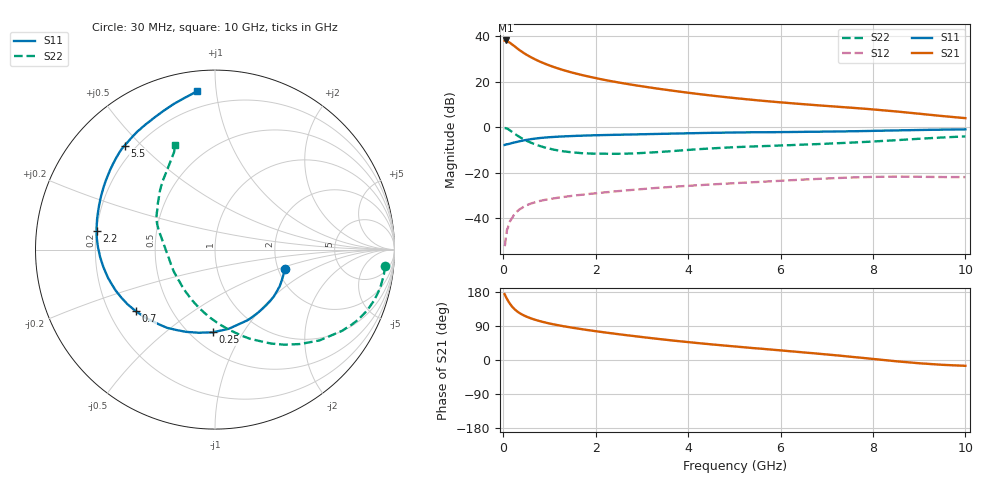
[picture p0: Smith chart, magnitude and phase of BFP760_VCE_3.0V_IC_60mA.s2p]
! Infineon Technologies  Discrete & RF Semiconductors
! BFP760
! VCE =  3.0 V,  IC =  60 mA
! Common Emitter S-Parameters:  Nov 2012
# GHz  S  MA  R  50
!  f  S11  S21  S12  S22
! GHz  MAG  ANG  MAG  ANG  MAG  ANG  MAG  ANG
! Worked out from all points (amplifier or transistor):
!   99 points, 30 MHz to 10 GHz, reference 50 ohm
!   highest |S21| = 38.1 dB at 50 MHz (marker M1)
!   |S21| within 3 dB of that: start of sweep to 273 MHz
!   unconditionally stable (mu >= 1): 3.456 GHz to end of sweep
!   at 350 MHz: K = 0.41, MSG = 35.1 dB, |S12| = -36.2 dB
!   at 3.5 GHz: K = 1.00, MAG = 21.2 dB, |S12| = -26.5 dB
!   at 10 GHz: K = 1.04, MAG = 11.7 dB, |S12| = -22.0 dB
!   S11 on the Smith chart (normalised r, x): 30 MHz: 2.18, -0.56; 250 MHz: 0.64, -0.74; 700 MHz: 0.31, -0.31; 2.2 GHz: 0.20, +0.08; 5.5 GHz: 0.16, +0.45; 10 GHz: 0.10, +0.89
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0.03  0.4042 -15.3  79.25 173.8  0.0024 84.8  0.9517 -5.5
0.04  0.4063 -20.2  79.46 171.6  0.0026 89.8  0.9514 -8.1
0.05  0.4101 -25.3  80.3 168.5  0.0032 67.1  0.9476 -10.8
0.07  0.4159 -34.1  79.62 163.7  0.0043 81.5  0.9373 -15.5
0.1  0.4209 -47.1  76.31 157.1  0.0059 74.1  0.9087 -22.5
0.15  0.4333 -65.5  70.83 147.6  0.0086 69.7  0.8401 -32.6
0.2  0.4479 -80.2  64.76 139.8  0.0103 65.0  0.7721 -40.9
0.25  0.4611 -91.6  59.32 133.5  0.0125 63.3  0.7091 -47.9
0.35  0.4856 -109.3  49.41 124.1  0.0154 56.0  0.6093 -59.2
0.45  0.5111 -121.5  42.14 117.4  0.0179 53.4  0.5344 -68.5
0.6  0.5418 -135.2  34.33 109.8  0.0208 49.2  0.4528 -80.2
0.7  0.5591 -142.2  30.45 105.8  0.0223 46.7  0.4132 -87.3
0.9  0.587 -153.1  24.78 99.2  0.025 44.1  0.3554 -100.0
1.1  0.6069 -161.5  20.81 93.8  0.027 42.3  0.3179 -111.2
1.7  0.6464 -178.9  13.97 81.4  0.0324 40.9  0.2665 -137.6
2.2  0.6676 171.0  10.85 72.7  0.0366 40.5  0.2592 -154.4
3.4  0.7083 151.9  6.871 55.0  0.0465 38.7  0.284 175.4
5.1  0.7613 133.9  4.247 34.8  0.059 34.3  0.364 153.3
5.5  0.768 131.0  3.876 30.5  0.0618 33.2  0.377 149.7
6.7  0.7884 122.7  3.069 18.0  0.0715 28.6  0.4186 138.9
8.5  0.8438 105.7  2.205 -3.3  0.0812 16.7  0.5137 121.6
10  0.8904 96.4  1.57 -15.4  0.0793 11.2  0.6233 111.1
